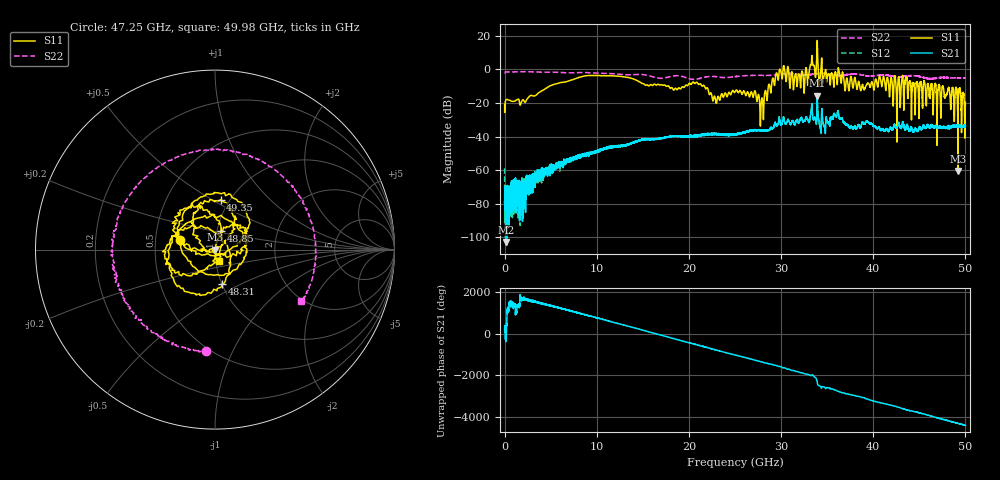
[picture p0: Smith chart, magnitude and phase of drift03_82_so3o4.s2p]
!Created with skrf (http://scikit-rf.org).
# Hz S RI R 50.0
!freq ReS11 ImS11 ReS21 ImS21 ReS12 ImS12 ReS22 ImS22
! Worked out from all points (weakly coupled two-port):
!   10001 points, 300 kHz to 50 GHz, reference 50 ohm
!   highest |S21| = -15.63 dB at 33.93 GHz (marker M1); lowest = -102.9 dB at 205.3 MHz (marker M2)
!   lowest |S11| = -60.5 dB at 49.18 GHz (marker M3), VSWR 1.00, Z = 50 - j0.0865 ohm
!   |S11| at or under -10 dB: start of sweep to 4.851 GHz; 21.69 GHz to 28.62 GHz (6.935 GHz wide, 27.6 % of centre); 47.56 GHz to end of sweep (the widest 3 of 45)
!   |S22| runs from -5.9 to -1.3 dB; largest |S21 - S12| = 0.017
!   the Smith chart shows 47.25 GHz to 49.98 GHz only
!   S11 on the Smith chart (normalised r, x): 47.25 GHz: 0.67, +0.08; 48.31 GHz: 1.00, -0.40; 48.85 GHz: 1.05, +0.22; 49.35 GHz: 0.91, +0.55; 49.98 GHz: 1.03, -0.13
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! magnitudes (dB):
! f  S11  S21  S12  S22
! 300 kHz  -21.1  -79.2  -58.9  -2.0
! 205.3 MHz  -17.9  -102.9  -86.1  -1.4
! 8.335 GHz  -4.3  -52.1  -51.4  -1.9
! 16.67 GHz  -8.8  -41.4  -41.1  -5.1
! 21.01 GHz  -8.7  -39.6  -39.3  -5.5
! 22.81 GHz  -16.1  -38.4  -38.6  -4.3
! 25 GHz  -13.4  -38.6  -38.5  -4.3
! 27.02 GHz  -15.6  -36.2  -36.3  -3.5
! 27.92 GHz  -17.1  -36.4  -36.3  -3.5
! 29.69 GHz  -6.4  -31.9  -31.6  -3.1
! 32.32 GHz  -1.5  -30.4  -30.7  -3.3
! 33.34 GHz  8.1  -20.5  -20.8  -2.9
! 33.93 GHz  17.1  -15.6  -15.8  -2.5
! 38.82 GHz  -9.3  -31.2  -31.7  -3.3
! 41.67 GHz  -9.1  -36.6  -36.6  -3.6
! 47.25 GHz  -13.8  -34.4  -34.3  -4.9
! 48.31 GHz  -14.1  -35.0  -34.9  -5.0
! 48.85 GHz  -19.3  -33.8  -33.7  -5.0
! 49.18 GHz  -60.5  -33.7  -33.9  -5.1
! 49.35 GHz  -11.0  -33.1  -33.8  -5.1
! 49.98 GHz  -23.7  -34.0  -34.5  -5.0
! 50 GHz  -19.4  -33.5  -34.0  -5.0
